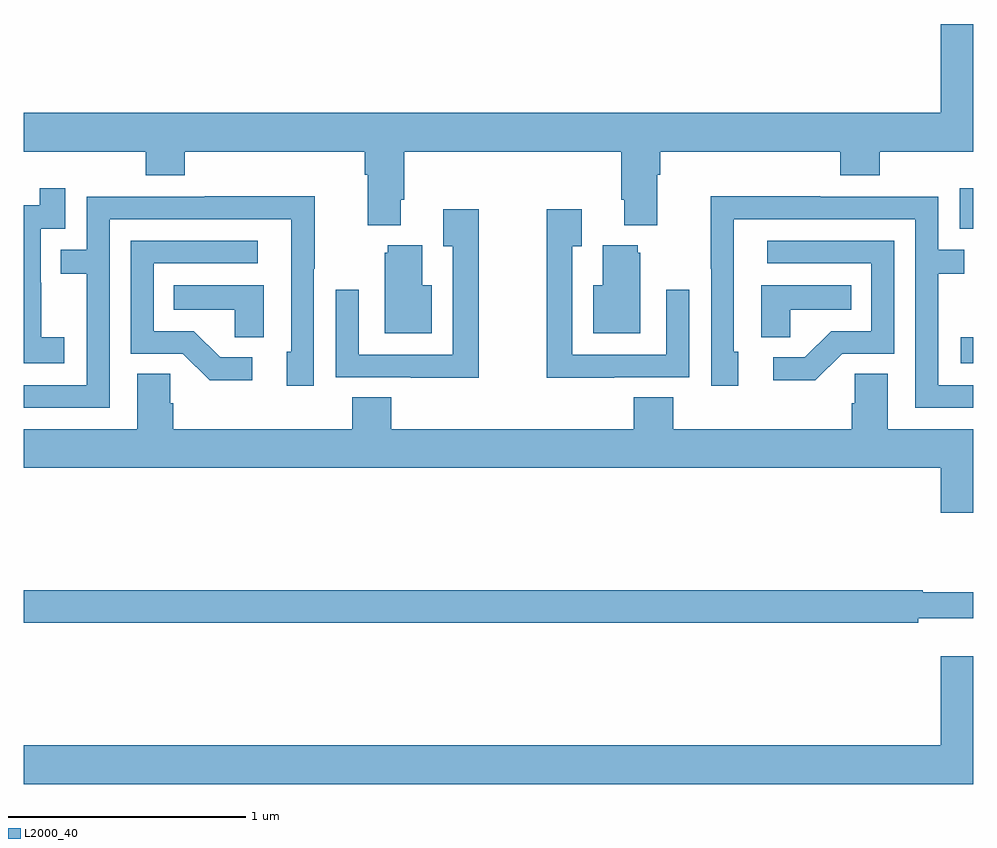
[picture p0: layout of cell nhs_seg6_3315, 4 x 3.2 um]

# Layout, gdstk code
import gdstk
lib = gdstk.Library(unit=1e-6, precision=1e-09)
def R(c, l, rs):  # rectangles x0, y0, x1, y1
    for r in rs: c.add(gdstk.rectangle(r[:2], r[2:], *l))
def P(c, l, *ps):  # polygons
    for p in ps: c.add(gdstk.Polygon(p, *l))
L2000_40 = (2000, 40)

nhs_seg6_3315 = lib.new_cell('nhs_seg6_3315')
R(nhs_seg6_3315, L2000_40, [(308.949,971.753,309,971.863), (308.943,972.321,309,972.49)])
P(nhs_seg6_3315, L2000_40, [(306.589,972.442),(306.602,972.442),(306.602,972.644),(307.517,972.644),(307.517,972.442),(307.529,972.442),(307.529,972.335),(307.669,972.335),(307.669,972.548),(307.682,972.548),(307.682,972.644),(308.441,972.644),(308.441,972.545),(308.606,972.545),(308.606,972.644),(309,972.644),(309,973.183),(308.864,973.183),(308.864,972.808),(305,972.808),(305,972.644),(305.513,972.644),(305.513,972.545),(305.678,972.545),(305.678,972.644),(306.437,972.644),(306.437,972.548),(306.449,972.548),(306.449,972.335),(306.589,972.335)],
  [(305.17,971.863),(305.072,971.863),(305.072,972.092),(305.07,972.092),(305.07,972.321),(305.175,972.321),(305.175,972.49),(305.067,972.49),(305.067,972.42),(305,972.42),(305,971.753),(305.17,971.753)],
  [(305.361,972.36),(306.126,972.36),(306.126,971.802),(306.107,971.802),(306.107,971.658),(306.222,971.658),(306.222,972.151),(306.225,972.151),(306.225,972.458),(305.761,972.458),(305.761,972.456),(305.265,972.456),(305.265,972.231),(305.155,972.231),(305.155,972.13),(305.265,972.13),(305.265,971.661),(305,971.661),(305,971.565),(305.361,971.565)],
  [(309,971.661),(308.853,971.661),(308.853,972.13),(308.963,972.13),(308.963,972.231),(308.853,972.231),(308.853,972.456),(308.357,972.456),(308.357,972.458),(307.894,972.458),(307.894,972.151),(307.896,972.151),(307.896,971.658),(308.011,971.658),(308.011,971.802),(307.992,971.802),(307.992,972.36),(308.757,972.36),(308.757,971.565),(309,971.565)],
  [(306.916,972.403),(306.767,972.403),(306.767,972.247),(306.807,972.247),(306.807,971.79),(306.411,971.79),(306.411,972.064),(306.315,972.064),(306.315,971.694),(306.631,971.694),(306.631,971.693),(306.916,971.693)],
  [(307.487,971.694),(307.803,971.694),(307.803,972.064),(307.707,972.064),(307.707,971.79),(307.311,971.79),(307.311,972.247),(307.351,972.247),(307.351,972.403),(307.203,972.403),(307.203,971.693),(307.487,971.693)],
  [(308.448,971.793),(308.667,971.793),(308.667,972.27),(308.133,972.27),(308.133,972.174),(308.571,972.174),(308.571,971.889),(308.402,971.889),(308.291,971.778),(308.157,971.778),(308.157,971.681),(308.335,971.681)],
  [(305.962,971.778),(305.827,971.778),(305.716,971.889),(305.547,971.889),(305.547,972.174),(305.986,972.174),(305.986,972.27),(305.451,972.27),(305.451,971.793),(305.67,971.793),(305.783,971.681),(305.962,971.681)],
  [(307.597,972.219),(307.586,972.219),(307.586,972.25),(307.439,972.25),(307.439,972.082),(307.4,972.082),(307.4,971.879),(307.597,971.879)],
  [(306.718,972.082),(306.679,972.082),(306.679,972.25),(306.533,972.25),(306.533,972.219),(306.521,972.219),(306.521,971.879),(306.718,971.879)],
  [(308.229,971.978),(308.486,971.978),(308.486,972.082),(308.108,972.082),(308.108,971.863),(308.229,971.863)],
  [(306.01,972.082),(305.632,972.082),(305.632,971.978),(305.889,971.978),(305.889,971.863),(306.01,971.863)],
  [(309,971.476),(308.641,971.476),(308.641,971.708),(308.502,971.708),(308.502,971.585),(308.489,971.585),(308.489,971.476),(307.736,971.476),(307.736,971.609),(307.571,971.609),(307.571,971.476),(306.548,971.476),(306.548,971.609),(306.383,971.609),(306.383,971.476),(305.63,971.476),(305.63,971.585),(305.616,971.585),(305.616,971.708),(305.477,971.708),(305.477,971.476),(305,971.476),(305,971.312),(308.864,971.312),(308.864,971.124),(309,971.124)],
  [(308.768,970.679),(309,970.679),(309,970.789),(308.788,970.789),(308.788,970.796),(305,970.796),(305,970.66),(308.768,970.66)],
  [(309,970.519),(308.864,970.519),(308.864,970.144),(305,970.144),(305,969.98),(309,969.98)])

lib.write_gds('nhs_seg6_3315.gds')
